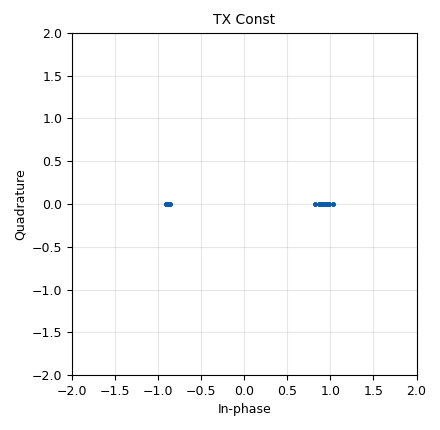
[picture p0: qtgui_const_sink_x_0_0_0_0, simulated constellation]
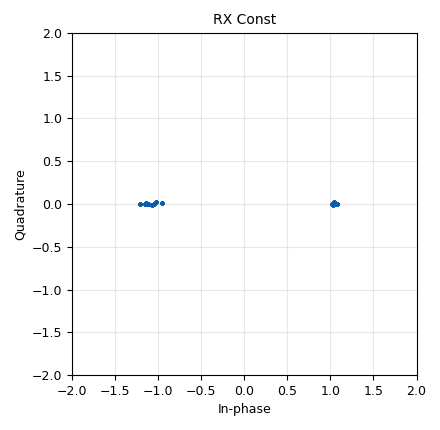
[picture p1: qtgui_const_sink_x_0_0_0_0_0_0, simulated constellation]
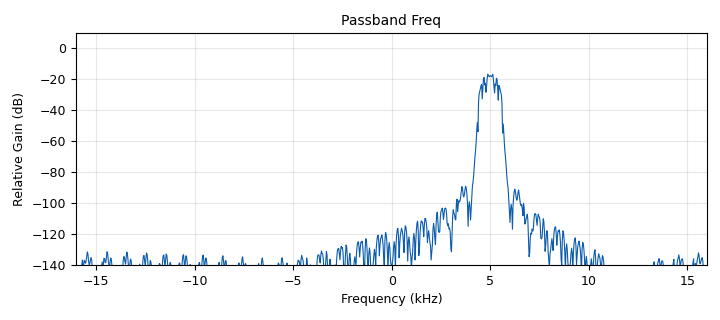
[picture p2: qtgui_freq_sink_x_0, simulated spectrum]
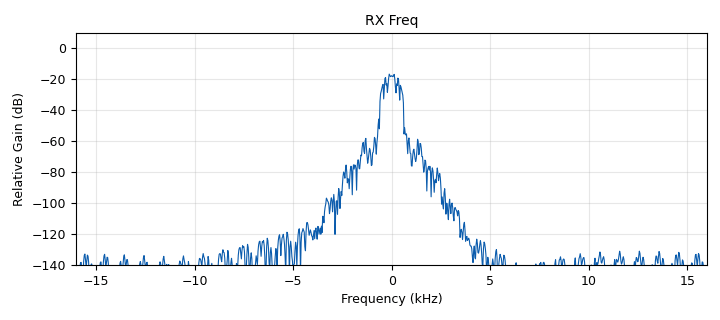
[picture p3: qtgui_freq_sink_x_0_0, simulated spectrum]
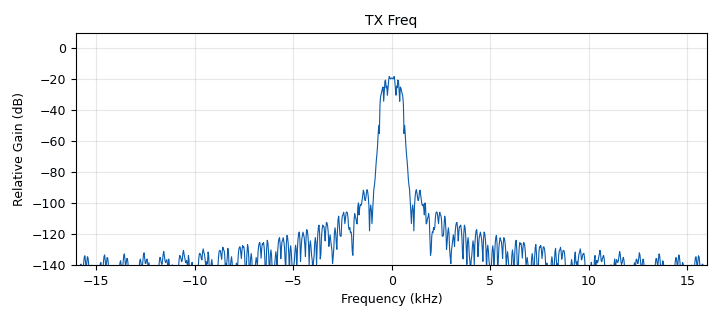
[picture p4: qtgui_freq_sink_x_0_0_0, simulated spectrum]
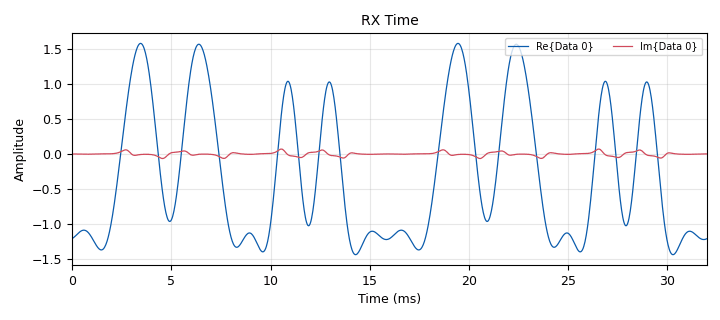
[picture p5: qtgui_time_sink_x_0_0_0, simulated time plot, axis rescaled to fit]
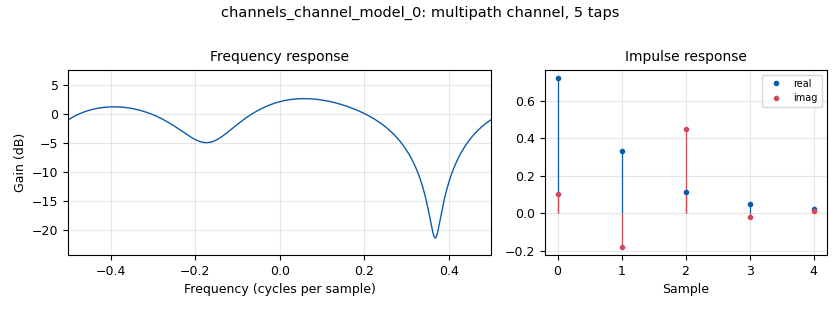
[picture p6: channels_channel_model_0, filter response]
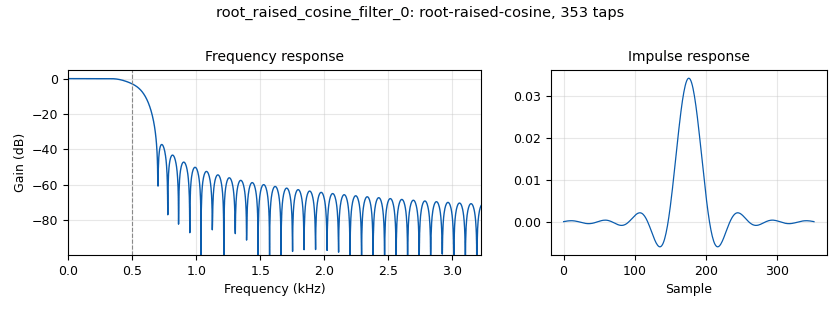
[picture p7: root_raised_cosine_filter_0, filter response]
options:
  parameters:
    author: John Sylvia
    generate_options: qt_gui
    id: bpsk_ber
    output_language: python
    title: BPSK BER
  states: {}

blocks:
- name: delay_blk
  id: variable_qtgui_range
  parameters:
    label: Delay
    rangeType: int
    start: '0'
    step: '1'
    stop: '100'
    value: '2'
  states: {}
- name: epsilon
  id: variable_qtgui_range
  parameters:
    label: Epsilon
    rangeType: int
    start: '0'
    step: '1'
    stop: '1000'
    value: '0'
  states: {}
- name: freq_range
  id: variable_qtgui_range
  parameters:
    label: Frequency
    start: '0'
    step: '1'
    stop: '100'
    value: '0'
  states: {}
- name: noise_range
  id: variable_qtgui_range
  parameters:
    label: Noise
    start: '0'
    step: '1'
    stop: '2000'
    value: '0'
  states: {}
- name: samp_rate
  id: variable
  parameters:
    value: '32000'
  states: {}
- name: sps
  id: variable_qtgui_range
  parameters:
    label: Samps/Symbol
    rangeType: int
    start: '1'
    step: '1'
    stop: '100'
    value: '32'
  states: {}
- name: variable_constellation_0
  id: variable_constellation
  parameters:
    const_points: '[-1, 1]'
    dims: '1'
    normalization: digital.constellation.AMPLITUDE_NORMALIZATION
    precision: '8'
    rot_sym: '2'
    sym_map: '[0, 1]'
    type: calcdist
  states: {}
- name: analog_sig_source_x_0
  id: analog_sig_source_x
  parameters:
    amp: '1'
    freq: '5000'
    offset: '0'
    phase: '0'
    samp_rate: samp_rate
    type: complex
    waveform: analog.GR_COS_WAVE
  states: {}
- name: analog_sig_source_x_0_0
  id: analog_sig_source_x
  parameters:
    amp: '1'
    freq: '-5000'
    offset: '0'
    phase: '0'
    samp_rate: samp_rate
    type: complex
    waveform: analog.GR_COS_WAVE
  states: {}
- name: blocks_char_to_float_0
  id: blocks_char_to_float
  parameters:
    scale: '1'
  states: {state: disabled}
- name: blocks_char_to_float_0_0
  id: blocks_char_to_float
  parameters:
    scale: '1'
  states: {state: disabled}
- name: blocks_char_to_float_1
  id: blocks_char_to_float
  parameters:
    scale: '1'
  states: {state: disabled}
- name: blocks_delay_0
  id: blocks_delay
  parameters:
    delay: delay_blk
    type: byte
  states: {}
- name: blocks_keep_m_in_n_0
  id: blocks_keep_m_in_n
  parameters:
    m: '8'
    n: 8+8
    offset: '0'
    type: byte
  states: {state: disabled}
- name: blocks_multiply_xx_0
  id: blocks_multiply_xx
  parameters:
    type: complex
  states: {}
- name: blocks_multiply_xx_0_0
  id: blocks_multiply_xx
  parameters:
    type: complex
  states: {}
- name: blocks_repack_bits_bb_0
  id: blocks_repack_bits_bb
  parameters:
    endianness: gr.GR_LSB_FIRST
    k: '1'
    l: '8'
  states: {}
- name: blocks_repack_bits_bb_0_0
  id: blocks_repack_bits_bb
  parameters:
    endianness: gr.GR_LSB_FIRST
    k: '1'
    l: '8'
  states: {}
- name: blocks_repeat_0
  id: blocks_repeat
  parameters:
    interp: sps
    type: byte
  states: {}
- name: blocks_repeat_0_0
  id: blocks_repeat
  parameters:
    comment: for visualzation
    interp: sps
    type: byte
  states: {}
- name: blocks_repeat_0_1
  id: blocks_repeat
  parameters:
    interp: sps
    type: byte
  states: {}
- name: blocks_stream_mux_0
  id: blocks_stream_mux
  parameters:
    lengths: (8, 8)
    type: byte
  states: {}
- name: blocks_throttle2_0
  id: blocks_throttle2
  parameters:
    samples_per_second: samp_rate
    type: complex
  states: {}
- name: blocks_throttle2_0_0
  id: blocks_throttle2
  parameters:
    samples_per_second: samp_rate
    type: complex
  states: {}
- name: blocks_throttle2_0_0_0
  id: blocks_throttle2
  parameters:
    samples_per_second: samp_rate
    type: complex
  states: {}
- name: blocks_throttle2_0_0_0_0
  id: blocks_throttle2
  parameters:
    samples_per_second: samp_rate
    type: complex
  states: {}
- name: blocks_throttle2_0_0_0_0_0
  id: blocks_throttle2
  parameters:
    samples_per_second: samp_rate
    type: byte
  states: {state: disabled}
- name: blocks_throttle2_0_0_0_0_0_0
  id: blocks_throttle2
  parameters:
    samples_per_second: samp_rate
    type: byte
  states: {state: disabled}
- name: blocks_throttle2_0_0_0_1
  id: blocks_throttle2
  parameters:
    samples_per_second: samp_rate
    type: complex
  states: {}
- name: blocks_throttle2_0_0_1
  id: blocks_throttle2
  parameters:
    samples_per_second: samp_rate
    type: complex
  states: {}
- name: blocks_throttle2_0_0_1_0
  id: blocks_throttle2
  parameters:
    samples_per_second: samp_rate
    type: float
  states: {}
- name: blocks_throttle2_0_0_2
  id: blocks_throttle2
  parameters:
    samples_per_second: samp_rate
    type: complex
  states: {}
- name: blocks_vector_source_x_0
  id: blocks_vector_source_x
  parameters:
    repeat: 'True'
    type: byte
    vector: (0, 1, 1, 0, 1, 0, 0, 1)
  states: {}
- name: blocks_vector_source_x_0_0
  id: blocks_vector_source_x
  parameters:
    repeat: 'True'
    type: byte
    vector: (1, 1, 1, 0, 0, 0, 0, 1)
  states: {}
- name: channels_channel_model_0
  id: channels_channel_model
  parameters:
    epsilon: 1.0 + epsilon*10**-6
    freq_offset: freq_range*10**-6
    noise_voltage: noise_range*10**-3
    seed: '0'
    taps: '[0.72 + 0.10j, 0.33 - 0.18j, 0.11 + 0.45j, 0.05 - 0.02j, 0.02 + 0.01j]'
  states: {}
- name: digital_constellation_decoder_cb_0
  id: digital_constellation_decoder_cb
  parameters:
    constellation: variable_constellation_0
  states: {}
- name: digital_constellation_encoder_bc_0
  id: digital_constellation_encoder_bc
  parameters:
    constellation: variable_constellation_0
  states: {}
- name: digital_constellation_encoder_bc_0_0
  id: digital_constellation_encoder_bc
  parameters:
    constellation: variable_constellation_0
  states: {}
- name: digital_constellation_encoder_bc_0_1
  id: digital_constellation_encoder_bc
  parameters:
    constellation: variable_constellation_0
  states: {}
- name: digital_corr_est_cc_0
  id: digital_corr_est_cc
  parameters:
    mark_delay: '1'
    sps: sps
    symbols: (1, -1, 1, 1, 1, 1, 1, -1)
    threshold: '0.9'
    threshold_method: digital.THRESHOLD_ABSOLUTE
  states: {}
- name: digital_costas_loop_cc_0
  id: digital_costas_loop_cc
  parameters:
    order: '2'
    w: (2*3.141596265359)/100
  states: {}
- name: digital_diff_decoder_bb_0
  id: digital_diff_decoder_bb
  parameters:
    coding: digital.DIFF_DIFFERENTIAL
    modulus: '2'
  states: {}
- name: digital_diff_encoder_bb_0
  id: digital_diff_encoder_bb
  parameters:
    coding: digital.DIFF_DIFFERENTIAL
    modulus: '2'
  states: {}
- name: digital_fll_band_edge_cc_0
  id: digital_fll_band_edge_cc
  parameters:
    filter_size: '11'
    rolloff: '0.35'
    samps_per_sym: sps
    type: cc
    w: (2*3.141596265359)/100
  states: {state: disabled}
- name: digital_symbol_sync_xx_0
  id: digital_symbol_sync_xx
  parameters:
    damping: '1.0'
    loop_bw: '0.045'
    max_dev: '1.5'
    osps: '1'
    resamp_type: digital.IR_MMSE_8TAP
    sps: sps
    ted_gain: '1.0'
    ted_type: digital.TED_MUELLER_AND_MULLER
    type: cc
  states: {}
- name: digital_symbol_sync_xx_0_0
  id: digital_symbol_sync_xx
  parameters:
    damping: '1.0'
    loop_bw: '0.045'
    max_dev: '1.5'
    osps: '1'
    resamp_type: digital.IR_MMSE_8TAP
    sps: sps
    ted_gain: '1.0'
    ted_type: digital.TED_MUELLER_AND_MULLER
    type: cc
  states: {}
- name: epy_block_0
  id: epy_block
  parameters:
    _source_code: |
      import numpy as np
      from gnuradio import gr

      class blk(gr.sync_block):
          def __init__(self):
              gr.sync_block.__init__(
                  self,
                  name='BER %',
                  in_sig=[np.float32],
                  out_sig=[np.float32]
              )

          def work(self, input_items, output_items):
              output_items[0][:] = 10**(input_items[0][:]) * 100
              return len(output_items[0])
  states: {}
- name: fec_ber_bf_0
  id: fec_ber_bf
  parameters:
    test_mode: 'False'
  states: {}
- name: qtgui_const_sink_x_0_0_0_0
  id: qtgui_const_sink_x
  parameters:
    name: '"TX Const"'
    size: '1024'
    type: complex
  states: {}
- name: qtgui_const_sink_x_0_0_0_0_0_0
  id: qtgui_const_sink_x
  parameters:
    name: '"RX Const"'
    size: '1024'
    type: complex
  states: {}
- name: qtgui_freq_sink_x_0
  id: qtgui_freq_sink_x
  parameters:
    bw: samp_rate
    fc: '0'
    fftsize: '1024'
    name: '"Passband Freq"'
    type: complex
  states: {}
- name: qtgui_freq_sink_x_0_0
  id: qtgui_freq_sink_x
  parameters:
    bw: samp_rate
    fc: '0'
    fftsize: '1024'
    name: '"RX Freq"'
    type: complex
  states: {}
- name: qtgui_freq_sink_x_0_0_0
  id: qtgui_freq_sink_x
  parameters:
    bw: samp_rate
    fc: '0'
    fftsize: '1024'
    name: '"TX Freq"'
    type: complex
  states: {}
- name: qtgui_number_sink_0
  id: qtgui_number_sink
  parameters:
    graph_type: qtgui.NUM_GRAPH_HORIZ
    gui_hint: '[0,0]'
    max: '100'
    min: '0'
    name: '"BER %"'
    type: float
  states: {}
- name: qtgui_time_sink_x_0
  id: qtgui_time_sink_x
  parameters:
    size: '1024'
    srate: samp_rate
    type: float
  states: {state: disabled}
- name: qtgui_time_sink_x_0_0_0
  id: qtgui_time_sink_x
  parameters:
    name: '"RX Time"'
    size: '1024'
    srate: samp_rate
    type: complex
  states: {}
- name: qtgui_time_sink_x_0_0_0_0
  id: qtgui_time_sink_x
  parameters:
    name: '"TX Time"'
    size: '1024'
    srate: samp_rate
    type: complex
  states: {}
- name: qtgui_time_sink_x_0_0_0_0_0
  id: qtgui_time_sink_x
  parameters:
    name: '"Original Signal"'
    size: '1024'
    srate: samp_rate
    type: complex
  states: {}
- name: qtgui_time_sink_x_0_0_0_0_0_0
  id: qtgui_time_sink_x
  parameters:
    name: '"Received Signal"'
    size: '1024'
    srate: samp_rate
    type: complex
  states: {}
- name: qtgui_time_sink_x_0_0_0_0_0_1
  id: qtgui_time_sink_x
  parameters:
    name: '"Original Signal"'
    size: '1024'
    srate: samp_rate
    type: float
  states: {state: disabled}
- name: qtgui_time_sink_x_0_0_0_0_0_1_0
  id: qtgui_time_sink_x
  parameters:
    name: '"Original Signal"'
    size: '1024'
    srate: samp_rate
    type: float
  states: {state: disabled}
- name: root_raised_cosine_filter_0
  id: root_raised_cosine_filter
  parameters:
    alpha: '0.35'
    decim: '1'
    gain: '1'
    ntaps: 11*sps
    samp_rate: samp_rate
    sym_rate: samp_rate/sps
    type: fir_filter_ccf
  states: {}
- name: virtual_sink_0
  id: virtual_sink
  parameters:
    stream_id: tx_bpsk
  states: {}
- name: virtual_sink_0_0
  id: virtual_sink
  parameters:
    stream_id: source_signal
  states: {}
- name: virtual_source_0
  id: virtual_source
  parameters:
    stream_id: tx_bpsk
  states: {}
- name: virtual_source_0_0
  id: virtual_source
  parameters:
    stream_id: source_signal
  states: {}

connections:
- [analog_sig_source_x_0, '0', blocks_multiply_xx_0, '1']
- [analog_sig_source_x_0_0, '0', blocks_multiply_xx_0_0, '1']
- [blocks_char_to_float_0, '0', qtgui_time_sink_x_0_0_0_0_0_1, '0']
- [blocks_char_to_float_0_0, '0', qtgui_time_sink_x_0_0_0_0_0_1_0, '0']
- [blocks_char_to_float_1, '0', qtgui_time_sink_x_0, '0']
- [blocks_delay_0, '0', blocks_keep_m_in_n_0, '0']
- [blocks_delay_0, '0', blocks_repack_bits_bb_0, '0']
- [blocks_delay_0, '0', blocks_repeat_0_0, '0']
- [blocks_delay_0, '0', blocks_throttle2_0_0_0_0_0_0, '0']
- [blocks_keep_m_in_n_0, '0', blocks_repack_bits_bb_0, '0']
- [blocks_keep_m_in_n_0, '0', blocks_repeat_0_0, '0']
- [blocks_keep_m_in_n_0, '0', blocks_throttle2_0_0_0_0_0_0, '0']
- [blocks_multiply_xx_0, '0', channels_channel_model_0, '0']
- [blocks_multiply_xx_0_0, '0', digital_costas_loop_cc_0, '0']
- [blocks_multiply_xx_0_0, '0', digital_fll_band_edge_cc_0, '0']
- [blocks_repack_bits_bb_0, '0', fec_ber_bf_0, '0']
- [blocks_repack_bits_bb_0_0, '0', fec_ber_bf_0, '1']
- [blocks_repeat_0, '0', blocks_char_to_float_1, '0']
- [blocks_repeat_0, '0', digital_constellation_encoder_bc_0_1, '0']
- [blocks_repeat_0_0, '0', digital_constellation_encoder_bc_0_0, '0']
- [blocks_repeat_0_1, '0', digital_constellation_encoder_bc_0, '0']
- [blocks_stream_mux_0, '0', digital_diff_encoder_bb_0, '0']
- [blocks_throttle2_0, '0', qtgui_freq_sink_x_0, '0']
- [blocks_throttle2_0_0, '0', qtgui_freq_sink_x_0_0, '0']
- [blocks_throttle2_0_0, '0', qtgui_time_sink_x_0_0_0, '0']
- [blocks_throttle2_0_0_0, '0', qtgui_freq_sink_x_0_0_0, '0']
- [blocks_throttle2_0_0_0, '0', qtgui_time_sink_x_0_0_0_0, '0']
- [blocks_throttle2_0_0_0_0, '0', qtgui_time_sink_x_0_0_0_0_0, '0']
- [blocks_throttle2_0_0_0_0_0, '0', blocks_char_to_float_0, '0']
- [blocks_throttle2_0_0_0_0_0_0, '0', blocks_char_to_float_0_0, '0']
- [blocks_throttle2_0_0_0_1, '0', qtgui_const_sink_x_0_0_0_0, '0']
- [blocks_throttle2_0_0_1, '0', qtgui_time_sink_x_0_0_0_0_0_0, '0']
- [blocks_throttle2_0_0_1_0, '0', qtgui_number_sink_0, '0']
- [blocks_throttle2_0_0_2, '0', qtgui_const_sink_x_0_0_0_0_0_0, '0']
- [blocks_vector_source_x_0, '0', blocks_repeat_0_1, '0']
- [blocks_vector_source_x_0, '0', blocks_stream_mux_0, '1']
- [blocks_vector_source_x_0, '0', virtual_sink_0_0, '0']
- [blocks_vector_source_x_0_0, '0', blocks_stream_mux_0, '0']
- [channels_channel_model_0, '0', virtual_sink_0, '0']
- [digital_constellation_decoder_cb_0, '0', digital_diff_decoder_bb_0, '0']
- [digital_constellation_encoder_bc_0, '0', blocks_throttle2_0_0_0_0, '0']
- [digital_constellation_encoder_bc_0_0, '0', blocks_throttle2_0_0_1, '0']
- [digital_constellation_encoder_bc_0_1, '0', root_raised_cosine_filter_0, '0']
- [digital_corr_est_cc_0, '0', digital_constellation_decoder_cb_0, '0']
- [digital_costas_loop_cc_0, '0', blocks_throttle2_0_0, '0']
- [digital_costas_loop_cc_0, '0', digital_symbol_sync_xx_0, '0']
- [digital_diff_decoder_bb_0, '0', blocks_delay_0, '0']
- [digital_diff_encoder_bb_0, '0', blocks_repeat_0, '0']
- [digital_fll_band_edge_cc_0, '0', digital_costas_loop_cc_0, '0']
- [digital_symbol_sync_xx_0, '0', blocks_throttle2_0_0_2, '0']
- [digital_symbol_sync_xx_0, '0', digital_corr_est_cc_0, '0']
- [digital_symbol_sync_xx_0_0, '0', blocks_throttle2_0_0_0_1, '0']
- [epy_block_0, '0', blocks_throttle2_0_0_1_0, '0']
- [fec_ber_bf_0, '0', epy_block_0, '0']
- [root_raised_cosine_filter_0, '0', blocks_multiply_xx_0, '0']
- [root_raised_cosine_filter_0, '0', blocks_throttle2_0_0_0, '0']
- [root_raised_cosine_filter_0, '0', digital_symbol_sync_xx_0_0, '0']
- [virtual_source_0, '0', blocks_multiply_xx_0_0, '0']
- [virtual_source_0, '0', blocks_throttle2_0, '0']
- [virtual_source_0_0, '0', blocks_repack_bits_bb_0_0, '0']
- [virtual_source_0_0, '0', blocks_throttle2_0_0_0_0_0, '0']

metadata:
  file_format: 1
  grc_version: 3.10.9.2
